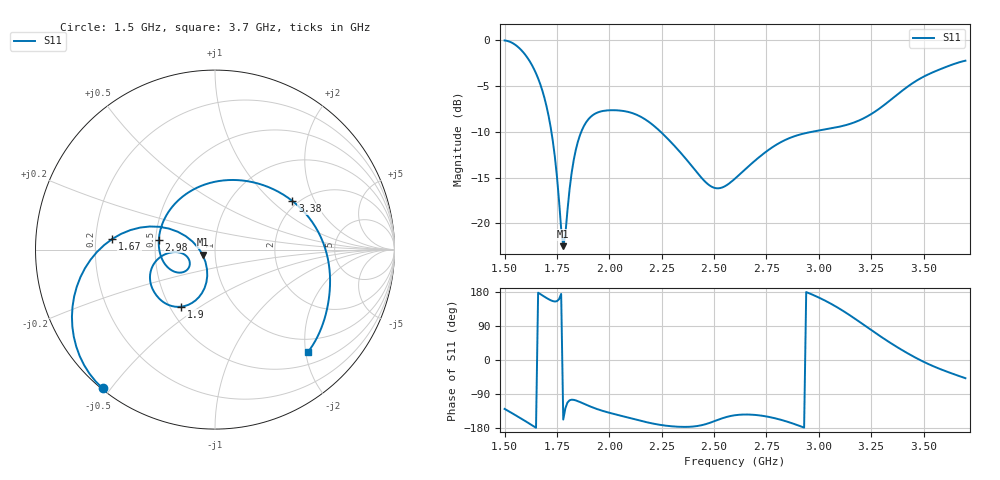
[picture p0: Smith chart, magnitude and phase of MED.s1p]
! TOUCHSTONE file generated by CST MICROWAVE STUDIO
! Date and time: Mon Jan 19 13:48:54 2026
! Project name: MED_opt.cst
! Parameters = {G=5; H=21; L=30; SMAh=5; W=65; Wm=3; gth=1.5; gw=150; pth=0.04; q=5; r_in=0.4; r_out=0.8; reh=3; s_r=0.6; sh=1.2; sph=1.3}
! Header version: 2024
! Port assignment regex: !\s*Touchstone port\s*([0-9]+)\s*=\s*(CST MWS port|CST DES external port|CST DES block port)\s*(.+)\s* \(\"(.*)\"\)(\s*mode\s*([0-9]+))?.*
! Touchstone port assignment:
! Touchstone port 1 = CST MWS port 1 ("")
# GHz S MA R 50
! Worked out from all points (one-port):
!   221 points, 1.5 GHz to 3.7 GHz, reference 50 ohm
!   lowest |S11| = -22.5 dB at 1.78 GHz (marker M1), VSWR 1.16, Z = 43.5 - j2.54 ohm
!   |S11| at or under -10 dB: 1.723 GHz to 1.866 GHz (143.1 MHz wide, 7.97 % of centre); 2.244 GHz to 2.97 GHz (725.5 MHz wide, 27.8 % of centre)
!   S11 on the Smith chart (normalised r, x): 1.5 GHz: 0.00, -0.48; 1.67 GHz: 0.27, +0.05; 1.9 GHz: 0.57, -0.42; 2.98 GHz: 0.52, +0.06; 3.38 GHz: 1.87, +1.37; 3.7 GHz: 0.72, -2.04
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1.5  0.9944 -129.1
1.54  0.9594 -141.8
1.58  0.8801 -154.9
1.62  0.7655 -168.4
1.67  0.575 174.0
1.7  0.4354 163.6
1.73  0.282 155.5
1.75  0.1795 155.3
1.77  0.09359 174.4
1.78  0.07508 -157.2
1.83  0.2216 -105.2
1.86  0.3032 -110.9
1.9  0.3696 -120.6
2.06  0.4112 -147.8
2.17  0.3699 -163.1
2.33  0.2505 -176.2
2.49  0.1581 -163.8
2.6  0.1754 -145.7
2.75  0.2467 -149.0
2.88  0.2976 -168.3
2.98  0.3178 169.9
3.07  0.3314 144.8
3.15  0.3491 117.4
3.27  0.4079 71.6
3.38  0.5094 32.1
3.43  0.563 15.9
3.55  0.6708 -17.2
3.7  0.7713 -48.0
